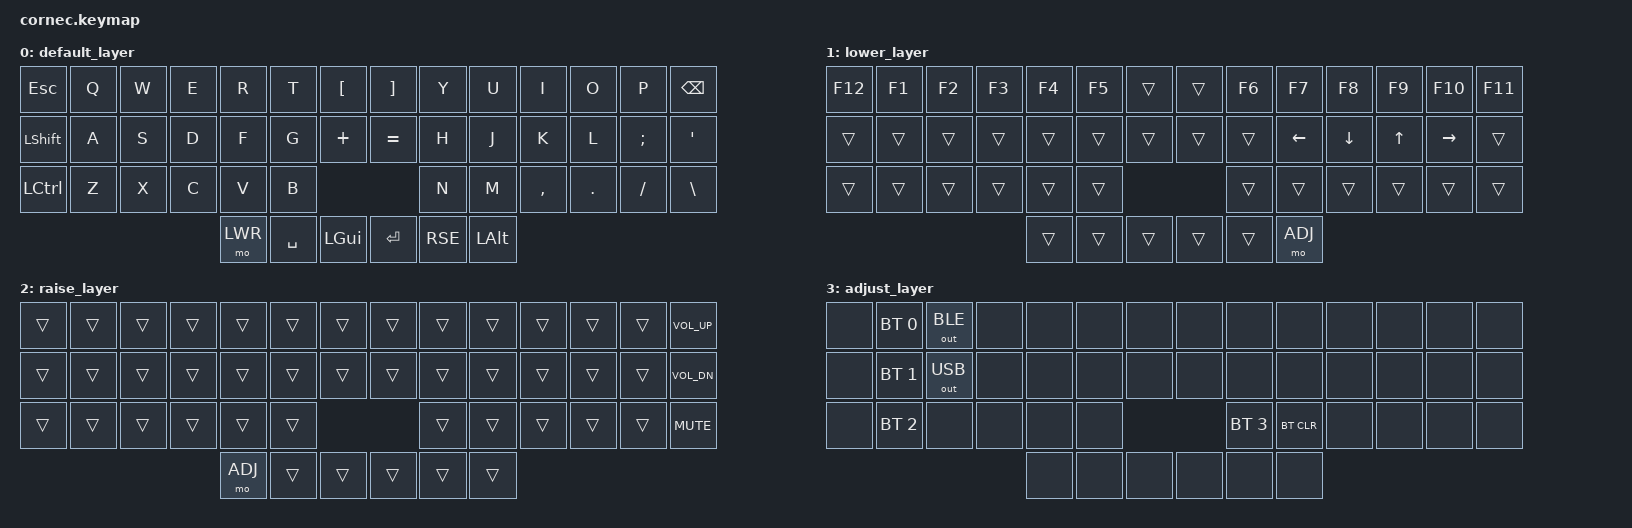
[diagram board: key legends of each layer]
#include <behaviors.dtsi>
#include <dt-bindings/zmk/keys.h>
#include <dt-bindings/zmk/bt.h>
#include <dt-bindings/zmk/outputs.h>

#define LWR 1
#define RSE 2
#define ADJ 3

/ {
    keymap {
        compatible = "zmk,keymap";

        default_layer {
            bindings = <
                &kp ESC   &kp Q     &kp W     &kp E     &kp R     &kp T     &kp LBKT          &kp RBKT  &kp Y     &kp U     &kp I     &kp O     &kp P     &kp BSPC
                &kp LSHFT &kp A     &kp S     &kp D     &kp F     &kp G     &kp PLUS          &kp EQUAL &kp H     &kp J     &kp K     &kp L     &kp SEMI  &kp SQT
                &kp LCTRL &kp Z     &kp X     &kp C     &kp V     &kp B                                 &kp N     &kp M     &kp COMMA &kp DOT   &kp FSLH  &kp BSLH
                                                         &mo LWR  &kp SPACE &kp LGUI          &kp RET  &kp RSE   &kp LALT
            >;
        };

        lower_layer {
            bindings = <
                &kp F12 &kp F1   &kp F2   &kp F3   &kp F4   &kp F5   &trans &trans            &kp F6   &kp F7   &kp F8   &kp F9   &kp F10  &kp F11
                &trans  &trans   &trans   &trans   &trans   &trans   &trans &trans            &trans   &kp LEFT &kp DOWN &kp UP   &kp RIGHT &trans
                &trans  &trans   &trans   &trans   &trans   &trans                                    &trans   &trans   &trans   &trans   &trans   &trans
                                                                 &trans  &trans  &trans           &trans            &trans  &mo ADJ
            >;
        };

        raise_layer {
            bindings = <
                &trans  &trans  &trans  &trans  &trans  &trans  &trans           &trans            &trans  &trans &trans &trans &trans &kp K_VOL_UP
                &trans  &trans  &trans  &trans  &trans  &trans  &trans           &trans            &trans  &trans &trans &trans &trans &kp K_VOL_DN
                &trans  &trans  &trans  &trans  &trans  &trans                                   &trans  &trans &trans &trans &trans &kp K_MUTE
                               &mo ADJ &trans  &trans           &trans            &trans  &trans
            >;
        };

        adjust_layer {
            bindings = <
                &none &bt BT_SEL 0 &out OUT_BLE &none &none &none &none           &none            &none &none &none &none &none &none
                &none &bt BT_SEL 1 &out OUT_USB &none &none &none &none           &none            &none &none &none &none &none &none
                &none &bt BT_SEL 2 &none        &none &none &none                              &bt BT_SEL 3 &bt BT_CLR &none &none &none &none
                               &none &none &none           &none            &none &none
            >;
        };
    };
};
